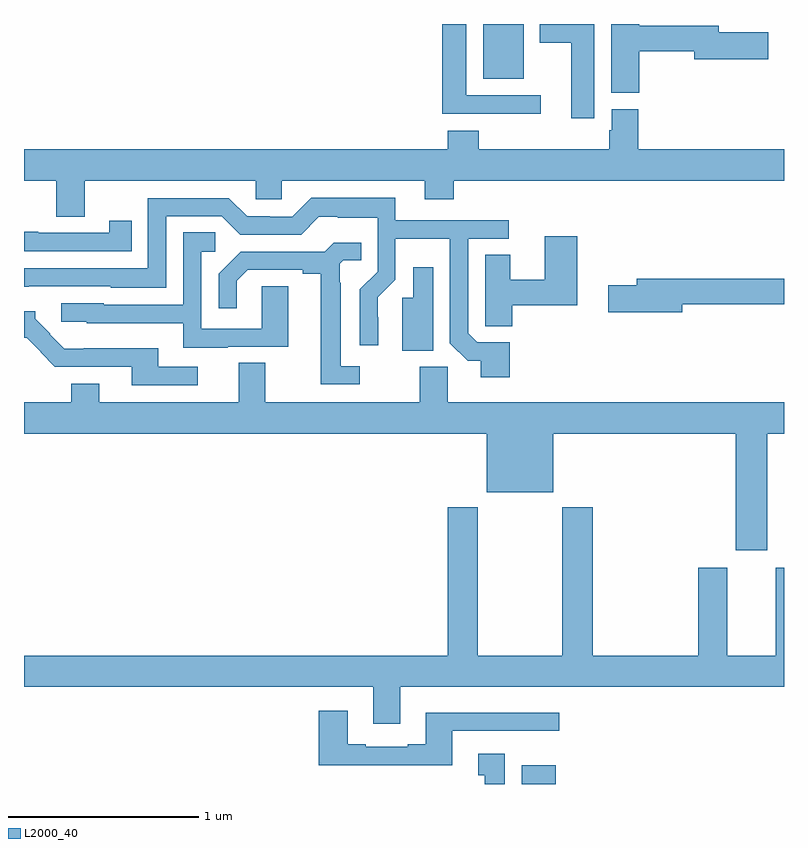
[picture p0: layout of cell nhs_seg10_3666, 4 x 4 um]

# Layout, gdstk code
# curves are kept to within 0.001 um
import gdstk
lib = gdstk.Library(unit=1e-6, precision=1e-09)
def R(c, l, rs):  # rectangles x0, y0, x1, y1
    for r in rs: c.add(gdstk.rectangle(r[:2], r[2:], *l))
def P(c, l, *ps):  # polygons
    for p in ps: c.add(gdstk.Polygon(p, *l))
L2000_40 = (2000, 40)

nhs_seg10_3666 = lib.new_cell('nhs_seg10_3666')
R(nhs_seg10_3666, L2000_40, [(313.619,1270.5,313.798,1270.6), (313.418,1274.213,313.63,1274.5)])
P(nhs_seg10_3666, L2000_40, [(313.72,1274.124),(313.327,1274.124),(313.327,1274.5),(313.202,1274.5),(313.202,1274.027),(313.72,1274.027)],
  [(314.237,1274.356),(314.528,1274.356),(314.528,1274.314),(314.917,1274.314),(314.917,1274.456),(314.656,1274.456),(314.656,1274.492),(314.237,1274.492),(314.237,1274.5),(314.09,1274.5),(314.09,1274.137),(314.237,1274.137)],
  [(314.002,1274.5),(313.715,1274.5),(313.715,1274.402),(313.88,1274.402),(313.88,1274.004),(314.002,1274.004)],
  [(311.319,1273.676),(312.219,1273.676),(312.219,1273.578),(312.357,1273.578),(312.357,1273.676),(313.109,1273.676),(313.109,1273.577),(313.262,1273.577),(313.262,1273.676),(315,1273.676),(315,1273.84),(314.234,1273.84),(314.234,1274.052),(314.093,1274.052),(314.093,1273.941),(314.081,1273.941),(314.081,1273.84),(313.394,1273.84),(313.394,1273.939),(313.229,1273.939),(313.229,1273.84),(311,1273.84),(311,1273.676),(311.171,1273.676),(311.171,1273.486),(311.319,1273.486)],
  [(313.556,1272.825),(313.386,1272.825),(313.338,1272.873),(313.338,1273.371),(313.552,1273.371),(313.552,1273.467),(312.955,1273.467),(312.955,1273.585),(312.511,1273.585),(312.411,1273.485),(312.294,1273.485),(312.294,1273.488),(312.174,1273.488),(312.078,1273.584),(311.652,1273.584),(311.652,1273.215),(311,1273.215),(311,1273.118),(311.457,1273.119),(311.457,1273.112),(311.748,1273.112),(311.748,1273.488),(312.042,1273.488),(312.138,1273.392),(312.459,1273.392),(312.552,1273.485),(312.652,1273.485),(312.652,1273.481),(312.861,1273.481),(312.861,1273.197),(312.768,1273.104),(312.768,1272.81),(312.864,1272.81),(312.863,1273.062),(312.954,1273.154),(312.954,1273.37),(313.242,1273.37),(313.242,1272.819),(313.335,1272.727),(313.403,1272.727),(313.403,1272.642),(313.556,1272.642)],
  [(311.567,1273.465),(311.449,1273.465),(311.449,1273.401),(311.075,1273.401),(311.075,1273.406),(311,1273.406),(311,1273.305),(311.567,1273.305)],
  [(312.073,1272.801),(312.391,1272.801),(312.391,1273.121),(312.252,1273.121),(312.252,1272.897),(311.934,1272.897),(311.934,1273.302),(312.007,1273.302),(312.007,1273.403),(311.838,1273.403),(311.838,1273.023),(311.421,1273.023),(311.421,1273.029),(311.196,1273.029),(311.196,1272.933),(311.331,1272.933),(311.331,1272.926),(311.837,1272.926),(311.837,1272.797),(312.073,1272.797)],
  [(313.571,1273.019),(313.913,1273.019),(313.913,1273.384),(313.742,1273.384),(313.742,1273.153),(313.558,1273.153),(313.558,1273.286),(313.427,1273.286),(313.427,1273.018),(313.428,1273.018),(313.428,1272.91),(313.571,1272.91)],
  [(312.766,1272.699),(312.667,1272.699),(312.667,1273.139),(312.663,1273.139),(312.663,1273.239),(312.681,1273.257),(312.776,1273.257),(312.776,1273.349),(312.63,1273.349),(312.582,1273.302),(312.14,1273.302),(312.024,1273.186),(312.024,1273.005),(312.121,1273.005),(312.121,1273.149),(312.178,1273.206),(312.467,1273.206),(312.467,1273.186),(312.563,1273.186),(312.563,1272.603),(312.766,1272.603)],
  [(313.153,1273.219),(313.049,1273.219),(313.049,1273.059),(312.992,1273.059),(312.992,1272.781),(313.153,1272.781)],
  [(314.464,1273.024),(315,1273.024),(315,1273.16),(314.225,1273.16),(314.225,1273.124),(314.076,1273.124),(314.076,1272.982),(314.464,1272.982)],
  [(311.914,1272.696),(311.707,1272.696),(311.707,1272.793),(311.314,1272.793),(311.314,1272.791),(311.213,1272.791),(311.136,1272.867),(311.139,1272.87),(311.06,1272.949),(311.06,1272.988),(311,1272.988),(311,1272.849),(311.015,1272.849),(311.089,1272.775),(311.087,1272.773),(311.163,1272.696),(311.567,1272.696),(311.567,1272.6),(311.914,1272.6)],
  [(314.911,1272.344),(315,1272.344),(315,1272.508),(313.23,1272.508),(313.23,1272.696),(313.084,1272.696),(313.084,1272.508),(312.271,1272.508),(312.271,1272.716),(312.131,1272.716),(312.131,1272.508),(311.395,1272.508),(311.395,1272.607),(311.248,1272.607),(311.248,1272.508),(311,1272.508),(311,1272.344),(313.436,1272.344),(313.436,1272.035),(313.786,1272.035),(313.786,1272.344),(314.747,1272.344),(314.747,1271.73),(314.911,1271.73)],
  [(312.979,1271.012),(315,1271.012),(315,1271.638),(314.957,1271.638),(314.957,1271.176),(314.701,1271.176),(314.701,1271.638),(314.549,1271.638),(314.549,1271.176),(313.994,1271.176),(313.994,1271.956),(313.834,1271.956),(313.834,1271.176),(313.389,1271.176),(313.389,1271.956),(313.229,1271.956),(313.229,1271.176),(311,1271.176),(311,1271.012),(312.839,1271.012),(312.839,1270.818),(312.979,1270.818)],
  [(313.255,1270.779),(313.816,1270.779),(313.816,1270.876),(313.115,1270.876),(313.115,1270.708),(313.019,1270.708),(313.019,1270.695),(312.799,1270.695),(312.799,1270.708),(312.703,1270.708),(312.703,1270.885),(312.551,1270.885),(312.551,1270.598),(313.255,1270.598)],
  [(313.531,1270.66),(313.391,1270.66),(313.391,1270.547),(313.424,1270.547),(313.424,1270.5),(313.531,1270.5)])

lib.write_gds('nhs_seg10_3666.gds')
